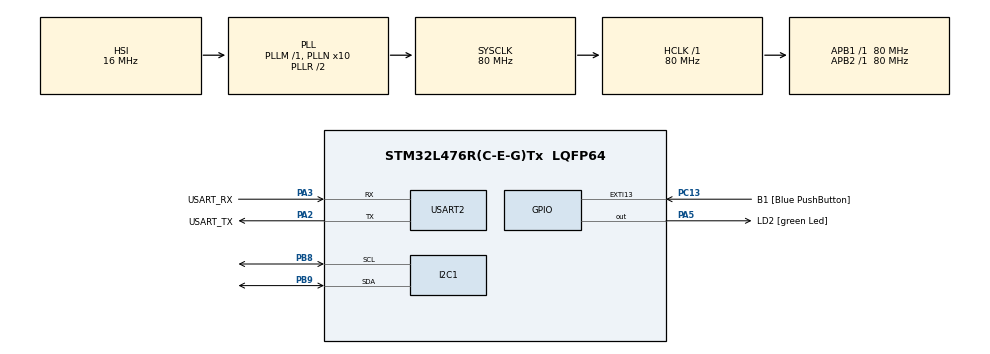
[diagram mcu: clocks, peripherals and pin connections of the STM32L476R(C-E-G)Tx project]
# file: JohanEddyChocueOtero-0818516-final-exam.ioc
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I2C1.Timing=0x10909CEC
Mcu.Family=STM32L4
Mcu.Name=STM32L476R(C-E-G)Tx
Mcu.Package=LQFP64
NVIC.PriorityGroup=NVIC_PRIORITYGROUP_4
PA13\ (JTMS-SWDIO).GPIO_Label=TMS
PA13\ (JTMS-SWDIO).Mode=Serial_Wire
PA13\ (JTMS-SWDIO).Signal=SYS_JTMS-SWDIO
PA14\ (JTCK-SWCLK).GPIO_Label=TCK
PA14\ (JTCK-SWCLK).Mode=Serial_Wire
PA14\ (JTCK-SWCLK).Signal=SYS_JTCK-SWCLK
PA2.GPIO_Label=USART_TX
PA2.GPIO_Mode=GPIO_MODE_AF_PP
PA2.GPIO_PuPd=GPIO_NOPULL
PA2.GPIO_Speed=GPIO_SPEED_FREQ_VERY_HIGH
PA2.Mode=Asynchronous
PA2.Signal=USART2_TX
PA3.GPIO_Label=USART_RX
PA3.GPIO_Mode=GPIO_MODE_AF_PP
PA3.GPIO_PuPd=GPIO_NOPULL
PA3.GPIO_Speed=GPIO_SPEED_FREQ_VERY_HIGH
PA3.Mode=Asynchronous
PA3.Signal=USART2_RX
PA5.GPIO_Label=LD2 [green Led]
PA5.GPIO_ModeDefaultOutputPP=GPIO_MODE_OUTPUT_PP
PA5.GPIO_PuPd=GPIO_NOPULL
PA5.GPIO_Speed=GPIO_SPEED_FREQ_LOW
PA5.Signal=GPIO_Output
PB3\ (JTDO-TRACESWO).GPIO_Label=SWO
PB3\ (JTDO-TRACESWO).Signal=SYS_JTDO-SWO
PB8.Mode=I2C
PB8.Signal=I2C1_SCL
PB9.Mode=I2C
PB9.Signal=I2C1_SDA
PC13.GPIO_Label=B1 [Blue PushButton]
PC13.GPIO_ModeDefaultEXTI=GPIO_MODE_IT_FALLING
PC13.GPIO_PuPd=GPIO_NOPULL
PC13.Signal=GPXTI13
PC14-OSC32_IN\ (PC14).Mode=LSE-External-Oscillator
PC14-OSC32_IN\ (PC14).Signal=RCC_OSC32_IN
PC15-OSC32_OUT\ (PC15).Mode=LSE-External-Oscillator
PC15-OSC32_OUT\ (PC15).Signal=RCC_OSC32_OUT
PH0-OSC_IN\ (PH0).Signal=RCC_OSC_IN
PH1-OSC_OUT\ (PH1).Signal=RCC_OSC_OUT
ProjectManager.HeapSize=0x200
ProjectManager.StackSize=0x400
ProjectManager.TargetToolchain=STM32CubeIDE
RCC.ADCFreq_Value=64000000
RCC.AHBFreq_Value=80000000
RCC.APB1Freq_Value=80000000
RCC.APB1TimFreq_Value=80000000
RCC.APB2Freq_Value=80000000
RCC.APB2TimFreq_Value=80000000
RCC.CortexFreq_Value=80000000
RCC.HCLKFreq_Value=80000000
RCC.HSE_VALUE=8000000
RCC.HSI_VALUE=16000000
RCC.MSI_VALUE=4000000
RCC.PLLN=10
RCC.PLLSourceVirtual=RCC_PLLSOURCE_HSI
RCC.PREFETCH_ENABLE=1
RCC.SYSCLKFreq_VALUE=80000000
RCC.SYSCLKSource=RCC_SYSCLKSOURCE_PLLCLK
RCC.USBFreq_Value=64000000
RCC.VCOOutputFreq_Value=160000000
USART2.VirtualMode-Asynchronous=VM_ASYNC
board=NUCLEO-L476RG

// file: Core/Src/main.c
/* USER CODE BEGIN Header */
/**
  ******************************************************************************
  * @file           : main.c
  * @brief          : Main program body
  ******************************************************************************
  * @attention
  *
  * Copyright (c) 2023 STMicroelectronics.
  * All rights reserved.
  *
  * This software is licensed under terms that can be found in the LICENSE file
  * in the root directory of this software component.
  * If no LICENSE file comes with this software, it is provided AS-IS.
  *
  ******************************************************************************
  */
/* USER CODE END Header */
#include "main.h"

/* USER CODE BEGIN Includes */

#include <stdio.h>
#include <string.h>

#include "ssd1306.h"
#include "ssd1306_fonts.h"

#include "ring_buffer.h"

/* USER CODE END Includes */

I2C_HandleTypeDef hi2c1;

UART_HandleTypeDef huart2;

/* USER CODE BEGIN PV */

ring_buffer_t ring_buffer_uart_rx;
uint8_t rx_buffer[16];
uint8_t rx_data;

/* USER CODE END PV */

void SystemClock_Config(void);
static void MX_GPIO_Init(void);
static void MX_USART2_UART_Init(void);
static void MX_I2C1_Init(void);

/* USER CODE BEGIN 0 */

int _write(int file, char *ptr, int len)
{
  HAL_UART_Transmit(&huart2, (uint8_t *)ptr, len, HAL_MAX_DELAY);
  return len;
}

/**
  * @brief  Rx Transfer completed callback.
  * @param  huart UART handle.
  * @retval None
  */
void HAL_UART_RxCpltCallback(UART_HandleTypeDef *huart)
{
	ring_buffer_put(&ring_buffer_uart_rx, rx_data);

	HAL_UART_Receive_IT(&huart2, &rx_data, 1);
}

/**
  * @brief  Validate sequence received from UART.
  * @param  None
  * @retval None
  */
void validate_sequence(void)
{
	// Define the code to validate
	printf("Validating\r\n");
	uint8_t id[10] = "1007477187";
	uint8_t seq[10];

	// Iterate over the ring buffer to check the sequence
	for (uint8_t idx = 0; idx < 10; idx++) {
		// Get ring buffer variables
	  ring_buffer_get(&ring_buffer_uart_rx, &seq[idx]);
	}

	// Check if the sequence is equal to the data received in ring buffer
	if (memcmp(id, seq, 10) == 0) {

	// Print success in screen in case the sequence is correct
	  ssd1306_Fill(Black);
	  ssd1306_SetCursor(20, 20);
	  ssd1306_WriteString("Success", Font_11x18, White);
	  ssd1306_UpdateScreen();
	  HAL_Delay(10000);
	} else{
	 // If the get wrong the sequence one time
	  ssd1306_Fill(Black);
	  ssd1306_SetCursor(20, 20);
	  ssd1306_WriteString("Failed", Font_11x18, White);
	  ssd1306_UpdateScreen();
	  HAL_Delay(10000);
	}
}

/* USER CODE END 0 */

int main(void)
{

  /* MCU Configuration--------------------------------------------------------*/

  /* Reset of all peripherals, Initializes the Flash interface and the Systick. */
  HAL_Init();

  /* Configure the system clock */
  SystemClock_Config();

  /* Initialize all configured peripherals */
  MX_GPIO_Init();
  MX_USART2_UART_Init();
  MX_I2C1_Init();
  /* USER CODE BEGIN 2 */

  ring_buffer_init(&ring_buffer_uart_rx, rx_buffer, 16);

  //HAL_UART_Receive_IT(&huart2, &rx_data, 1);

  // Set the screen to waiting when getting the sequence
  ssd1306_Init();
  ssd1306_Fill(Black);
  ssd1306_SetCursor(20, 20);
  ssd1306_WriteString("Waiting...", Font_11x18, White);
  ssd1306_UpdateScreen();

  /* USER CODE END 2 */

  /* Infinite loop */
  /* USER CODE BEGIN WHILE */
  while (1)
  {
	  uint16_t size = ring_buffer_size(&ring_buffer_uart_rx);
	  // Check if there is some input
	  if (size != 0) {
		  validate_sequence();
	  }

    /* USER CODE END WHILE */

  }
}

void SystemClock_Config(void)
{
  RCC_OscInitTypeDef RCC_OscInitStruct = {0};
  RCC_ClkInitTypeDef RCC_ClkInitStruct = {0};

  /** Configure the main internal regulator output voltage
  */
  if (HAL_PWREx_ControlVoltageScaling(PWR_REGULATOR_VOLTAGE_SCALE1) != HAL_OK)
  {
    Error_Handler();
  }

  /** Initializes the RCC Oscillators according to the specified parameters
  * in the RCC_OscInitTypeDef structure.
  */
  RCC_OscInitStruct.OscillatorType = RCC_OSCILLATORTYPE_HSI;
  RCC_OscInitStruct.HSIState = RCC_HSI_ON;
  RCC_OscInitStruct.HSICalibrationValue = RCC_HSICALIBRATION_DEFAULT;
  RCC_OscInitStruct.PLL.PLLState = RCC_PLL_ON;
  RCC_OscInitStruct.PLL.PLLSource = RCC_PLLSOURCE_HSI;
  RCC_OscInitStruct.PLL.PLLM = 1;
  RCC_OscInitStruct.PLL.PLLN = 10;
  RCC_OscInitStruct.PLL.PLLP = RCC_PLLP_DIV7;
  RCC_OscInitStruct.PLL.PLLQ = RCC_PLLQ_DIV2;
  RCC_OscInitStruct.PLL.PLLR = RCC_PLLR_DIV2;
  if (HAL_RCC_OscConfig(&RCC_OscInitStruct) != HAL_OK)
  {
    Error_Handler();
  }

  /** Initializes the CPU, AHB and APB buses clocks
  */
  RCC_ClkInitStruct.ClockType = RCC_CLOCKTYPE_HCLK|RCC_CLOCKTYPE_SYSCLK
                              |RCC_CLOCKTYPE_PCLK1|RCC_CLOCKTYPE_PCLK2;
  RCC_ClkInitStruct.SYSCLKSource = RCC_SYSCLKSOURCE_PLLCLK;
  RCC_ClkInitStruct.AHBCLKDivider = RCC_SYSCLK_DIV1;
  RCC_ClkInitStruct.APB1CLKDivider = RCC_HCLK_DIV1;
  RCC_ClkInitStruct.APB2CLKDivider = RCC_HCLK_DIV1;

  if (HAL_RCC_ClockConfig(&RCC_ClkInitStruct, FLASH_LATENCY_4) != HAL_OK)
  {
    Error_Handler();
  }
}

static void MX_I2C1_Init(void)
{

  hi2c1.Instance = I2C1;
  hi2c1.Init.Timing = 0x10909CEC;
  hi2c1.Init.OwnAddress1 = 0;
  hi2c1.Init.AddressingMode = I2C_ADDRESSINGMODE_7BIT;
  hi2c1.Init.DualAddressMode = I2C_DUALADDRESS_DISABLE;
  hi2c1.Init.OwnAddress2 = 0;
  hi2c1.Init.OwnAddress2Masks = I2C_OA2_NOMASK;
  hi2c1.Init.GeneralCallMode = I2C_GENERALCALL_DISABLE;
  hi2c1.Init.NoStretchMode = I2C_NOSTRETCH_DISABLE;
  if (HAL_I2C_Init(&hi2c1) != HAL_OK)
  {
    Error_Handler();
  }

  /** Configure Analogue filter
  */
  if (HAL_I2CEx_ConfigAnalogFilter(&hi2c1, I2C_ANALOGFILTER_ENABLE) != HAL_OK)
  {
    Error_Handler();
  }

  /** Configure Digital filter
  */
  if (HAL_I2CEx_ConfigDigitalFilter(&hi2c1, 0) != HAL_OK)
  {
    Error_Handler();
  }

}

static void MX_USART2_UART_Init(void)
{

  huart2.Instance = USART2;
  huart2.Init.BaudRate = 115200;
  huart2.Init.WordLength = UART_WORDLENGTH_8B;
  huart2.Init.StopBits = UART_STOPBITS_1;
  huart2.Init.Parity = UART_PARITY_NONE;
  huart2.Init.Mode = UART_MODE_TX_RX;
  huart2.Init.HwFlowCtl = UART_HWCONTROL_NONE;
  huart2.Init.OverSampling = UART_OVERSAMPLING_16;
  huart2.Init.OneBitSampling = UART_ONE_BIT_SAMPLE_DISABLE;
  huart2.AdvancedInit.AdvFeatureInit = UART_ADVFEATURE_NO_INIT;
  if (HAL_UART_Init(&huart2) != HAL_OK)
  {
    Error_Handler();
  }

}

static void MX_GPIO_Init(void)
{
  GPIO_InitTypeDef GPIO_InitStruct = {0};

  /* GPIO Ports Clock Enable */
  __HAL_RCC_GPIOC_CLK_ENABLE();
  __HAL_RCC_GPIOH_CLK_ENABLE();
  __HAL_RCC_GPIOA_CLK_ENABLE();
  __HAL_RCC_GPIOB_CLK_ENABLE();

  /*Configure GPIO pin Output Level */
  HAL_GPIO_WritePin(LD2_GPIO_Port, LD2_Pin, GPIO_PIN_RESET);

  /*Configure GPIO pin : B1_Pin */
  GPIO_InitStruct.Pin = B1_Pin;
  GPIO_InitStruct.Mode = GPIO_MODE_IT_FALLING;
  GPIO_InitStruct.Pull = GPIO_NOPULL;
  HAL_GPIO_Init(B1_GPIO_Port, &GPIO_InitStruct);

  /*Configure GPIO pin : LD2_Pin */
  GPIO_InitStruct.Pin = LD2_Pin;
  GPIO_InitStruct.Mode = GPIO_MODE_OUTPUT_PP;
  GPIO_InitStruct.Pull = GPIO_NOPULL;
  GPIO_InitStruct.Speed = GPIO_SPEED_FREQ_LOW;
  HAL_GPIO_Init(LD2_GPIO_Port, &GPIO_InitStruct);

}

void Error_Handler(void)
{
  __disable_irq();
  while (1)
  {
  }
}
